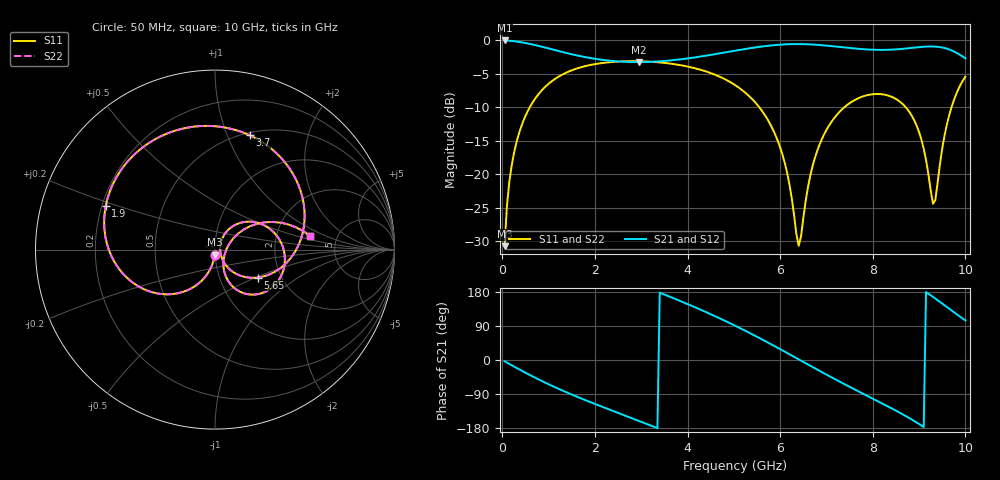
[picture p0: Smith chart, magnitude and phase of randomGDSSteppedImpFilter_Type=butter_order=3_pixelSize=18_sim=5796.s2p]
! freq	dB(S11)	phase(S11)	dB(S12)	phase(S12)
!  dB(S21)	phase(S21)	dB(S22)	phase(S22)
!S-par simulation data
#  GHz  S  DB  R 50
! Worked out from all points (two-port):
!   200 points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, 50 MHz to 10 GHz, reference 50 ohm
!   highest |S21| = -0.01 dB at 50 MHz (marker M1); lowest = -3.2 dB at 2.95 GHz (marker M2)
!   |S21| within 3 dB of the highest: start of sweep to 2.287 GHz; 3.608 GHz to end of sweep
!   lowest |S11| = -30.7 dB at 50 MHz (marker M3), VSWR 1.06, Z = 49.7 - j2.88 ohm
!   |S11| at or under -10 dB: start of sweep to 592.9 MHz; 5.55 GHz to 7.385 GHz (1.835 GHz wide, 28.4 % of centre); 8.713 GHz to 9.7 GHz (986.6 MHz wide, 10.7 % of centre)
!   |S22| runs from -30.8 to -3.1 dB; largest |S21 - S12| = 0
!   S11 on the Smith chart (normalised r, x): 50 MHz: 0.99, -0.06; 1.9 GHz: 0.22, +0.18; 3.7 GHz: 0.53, +1.21; 5.65 GHz: 1.52, -0.51; 10 GHz: 3.17, +0.66
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0.05  -30.74 -93.4  -0.01 -3.5  -0.01 -3.5  -30.75 -93.4
0.1  -24.75 -97.0  -0.02 -6.9  -0.02 -6.9  -24.75 -97.0
0.2  -18.80 -104.0  -0.08 -13.7  -0.08 -13.7  -18.80 -104.0
0.5  -11.29 -124.0  -0.39 -33.5  -0.39 -33.5  -11.29 -124.0
1.05  -6.20 -157.4  -1.29 -66.9  -1.29 -66.9  -6.20 -157.4
1.75  -3.91 165.7  -2.44 -103.8  -2.44 -103.8  -3.91 165.7
1.9  -3.67 158.3  -2.63 -111.1  -2.63 -111.1  -3.67 158.4
2.95  -3.11 108.9  -3.24 -160.7  -3.24 -160.7  -3.11 109.0
3.4  -3.29 87.6  -3.12 177.8  -3.12 177.8  -3.29 87.6
3.7  -3.53 73.0  -2.94 162.9  -2.94 162.9  -3.53 73.0
4.4  -4.64 37.2  -2.28 126.4  -2.28 126.4  -4.64 37.2
5.05  -6.78 1.3  -1.51 89.2  -1.51 89.2  -6.78 1.3
5.65  -10.95 -33.3  -0.87 51.7  -0.87 51.7  -10.95 -33.4
6.1  -18.32 -54.6  -0.59 21.9  -0.59 21.9  -18.33 -54.7
6.4  -30.68 -1.1  -0.54 1.7  -0.54 1.7  -30.80 -1.1
6.7  -18.79 57.5  -0.61 -18.6  -0.61 -18.6  -18.80 57.8
7.5  -9.38 16.9  -1.14 -70.8  -1.14 -70.8  -9.38 17.0
8.35  -8.28 -31.6  -1.39 -123.9  -1.39 -123.9  -8.28 -31.6
8.95  -12.79 -64.4  -1.04 -165.1  -1.04 -165.1  -12.78 -64.3
9.3  -24.40 -28.1  -0.91 166.6  -0.91 166.6  -24.37 -28.0
9.65  -11.19 31.5  -1.36 135.3  -1.36 135.3  -11.18 31.5
10  -5.40 8.0  -2.68 104.5  -2.68 104.5  -5.40 8.1
